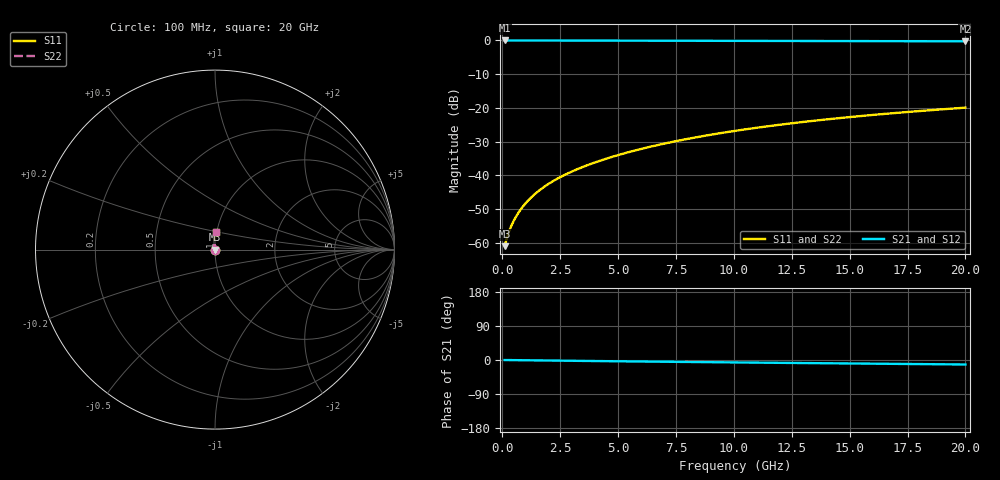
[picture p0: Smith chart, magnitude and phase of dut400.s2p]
! Touchstone file exported from HFSS 2024.1.0
!  File:  C:/UserFiles/LocalFiles/RDL_TSV_Batchsim/temp_RDL_top_400_1779675202.aedt
!  Generated:  10:15:54 AM May 25, 2026
!  Design:  RDL_top
!  Project:  temp_RDL_top_400_1779675202
!  Setup:  Setup1
!  Solution:  Sweep
! Variables:
!  dtsv = 10.80580581um
!  hbump = 3um
!  htsv = 69.46um
!  ldown = 100um
!  lrdl = 174.11um
!  p = 40
!  p1 = 42.28um
!  rhole = 1um
!  t = 450um
!  tdown = 3.915915916um
!  trdl = 4.18um
!  wdown = 15.38538539um
!  wrdl = 26.76um
# GHz S MA R 50.000000
! Terminal data exported
! Port[1] = Box2_T1
! Port[2] = Box2_T2
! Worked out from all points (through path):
!   200 points, 100 MHz to 20 GHz, reference 50 ohm
!   highest |S21| = -0.01 dB at 100 MHz (marker M1); lowest = -0.3 dB at 20 GHz (marker M2)
!   group delay of S21, straight-line fit = 1.62 ps
!   lowest |S11| = -61.0 dB at 100 MHz (marker M3), VSWR 1.00, Z = 50.1 + j0.0453 ohm
!   |S11| at or under -10 dB: start of sweep to end of sweep
!   |S22| runs from -61.0 to -19.9 dB; largest |S21 - S12| = 3.1e-15
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0.1  0.0008881 30.6  0.9992 -0.1  0.9992 -0.1  0.0008881 30.6
! Gamma 0 0 0 0
! Port Impedance 50 0 50 0
0.2  0.001188 46.0  0.9992 -0.2  0.9992 -0.2  0.001188 46.0
0.3  0.0015 54.6  0.9991 -0.2  0.9991 -0.2  0.0015 54.6
0.4  0.001814 60.4  0.999 -0.3  0.999 -0.3  0.001814 60.4
0.5  0.002132 64.9  0.999 -0.4  0.999 -0.4  0.002132 64.9
0.6  0.002458 68.4  0.9989 -0.4  0.9989 -0.4  0.002458 68.4
0.8  0.003129 73.5  0.9988 -0.6  0.9988 -0.6  0.003129 73.5
1  0.00382 77.1  0.9987 -0.7  0.9987 -0.7  0.00382 77.1
1.2  0.004526 79.8  0.9986 -0.9  0.9986 -0.9  0.004526 79.8
1.7  0.00634 84.3  0.9982 -1.2  0.9982 -1.2  0.00634 84.3
2.2  0.008215 87.1  0.9977 -1.6  0.9977 -1.6  0.008215 87.1
2.8  0.01054 89.6  0.997 -2.0  0.997 -2.0  0.01054 89.6
3.5  0.01338 91.6  0.996 -2.4  0.996 -2.4  0.01338 91.6
4.2  0.01635 93.0  0.9949 -2.9  0.9949 -2.9  0.01635 93.0
5  0.01991 94.2  0.9935 -3.4  0.9935 -3.4  0.01992 94.2
6.8  0.02853 95.4  0.9902 -4.5  0.9902 -4.5  0.02853 95.4
8.4  0.03674 95.3  0.9873 -5.5  0.9873 -5.5  0.03674 95.3
10.1  0.04585 94.6  0.9844 -6.4  0.9844 -6.4  0.04585 94.6
11.7  0.05463 93.6  0.9819 -7.3  0.9819 -7.3  0.05463 93.6
13.4  0.06406 92.3  0.9794 -8.3  0.9794 -8.3  0.06407 92.3
16.7  0.08244 89.6  0.9751 -10.1  0.9751 -10.1  0.08245 89.6
20  0.1007 86.9  0.9712 -11.8  0.9712 -11.8  0.1007 86.9
